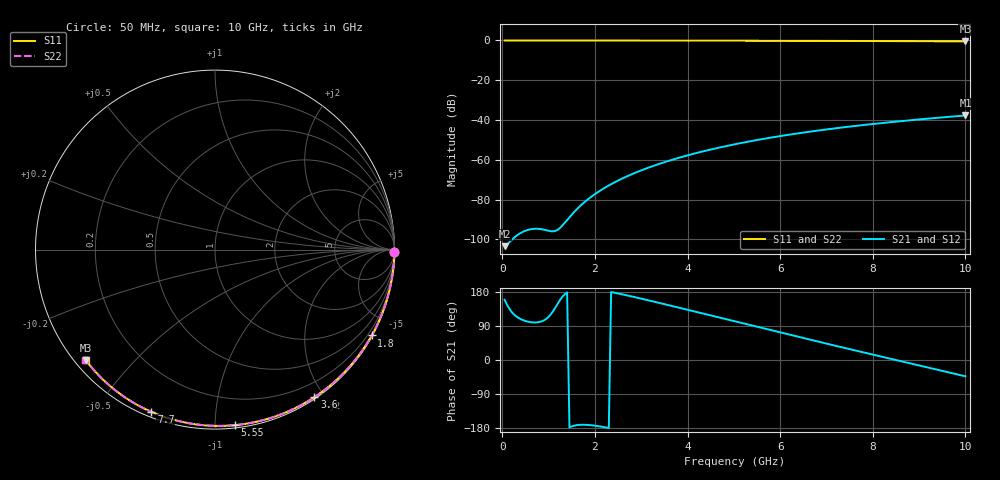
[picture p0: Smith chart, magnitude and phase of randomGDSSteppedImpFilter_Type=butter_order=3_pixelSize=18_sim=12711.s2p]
! freq	dB(S11)	phase(S11)	dB(S12)	phase(S12)
!  dB(S21)	phase(S21)	dB(S22)	phase(S22)
!S-par simulation data
#  GHz  S  DB  R 50
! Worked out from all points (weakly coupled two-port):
!   200 points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, 50 MHz to 10 GHz, reference 50 ohm
!   highest |S21| = -37.73 dB at 10 GHz (marker M1); lowest = -103.4 dB at 50 MHz (marker M2)
!   lowest |S11| = -0.5 dB at 10 GHz (marker M3), VSWR 36.86, Z = 1.54 - j18.4 ohm
!   |S11| at or under -10 dB: nowhere
!   |S22| runs from -0.5 to 0.0 dB; largest |S21 - S12| = 0
!   S11 on the Smith chart (normalised r, x): 50 MHz: open; 1.8 GHz: 0.03, -3.91; 3.6 GHz: 0.02, -1.88; 5.55 GHz: 0.02, -1.12; 7.7 GHz: 0.02, -0.68; 10 GHz: 0.03, -0.37
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0.05  -0.00 -0.8  -103.44 158.8  -103.44 158.8  -0.00 -0.8
0.45  -0.01 -7.3  -96.18 105.1  -96.18 105.1  -0.01 -7.3
0.9  -0.02 -14.5  -95.14 104.6  -95.14 104.6  -0.02 -14.5
1.75  -0.04 -27.9  -81.79 -170.9  -81.79 -170.9  -0.04 -27.9
1.8  -0.04 -28.7  -80.80 -171.0  -80.80 -171.0  -0.04 -28.6
1.85  -0.04 -29.5  -79.86 -171.4  -79.86 -171.4  -0.04 -29.4
2  -0.04 -31.8  -77.27 -173.3  -77.27 -173.3  -0.04 -31.7
2.15  -0.04 -34.2  -74.97 -176.1  -74.97 -176.1  -0.04 -34.1
2.35  -0.05 -37.2  -72.26 179.4  -72.26 179.4  -0.05 -37.1
2.55  -0.05 -40.3  -69.87 174.3  -69.87 174.3  -0.05 -40.2
2.95  -0.06 -46.4  -65.78 163.3  -65.78 163.3  -0.06 -46.3
3.4  -0.07 -53.1  -61.97 150.3  -61.97 150.3  -0.07 -53.0
3.6  -0.08 -56.0  -60.48 144.4  -60.48 144.4  -0.08 -55.9
4.3  -0.09 -66.2  -55.97 123.6  -55.97 123.6  -0.09 -66.1
5.05  -0.12 -76.7  -52.06 101.1  -52.06 101.1  -0.12 -76.6
5.55  -0.14 -83.5  -49.85 86.1  -49.85 86.1  -0.14 -83.4
6.1  -0.16 -90.9  -47.71 69.7  -47.71 69.7  -0.16 -90.8
6.7  -0.19 -98.7  -45.66 52.0  -45.66 52.0  -0.19 -98.6
7.7  -0.25 -111.4  -42.78 22.9  -42.78 22.9  -0.25 -111.4
8.35  -0.31 -119.5  -41.17 4.3  -41.17 4.3  -0.31 -119.5
9.2  -0.38 -129.8  -39.29 -19.9  -39.29 -19.9  -0.38 -129.9
10  -0.47 -139.5  -37.73 -43.0  -37.73 -43.0  -0.47 -139.7
